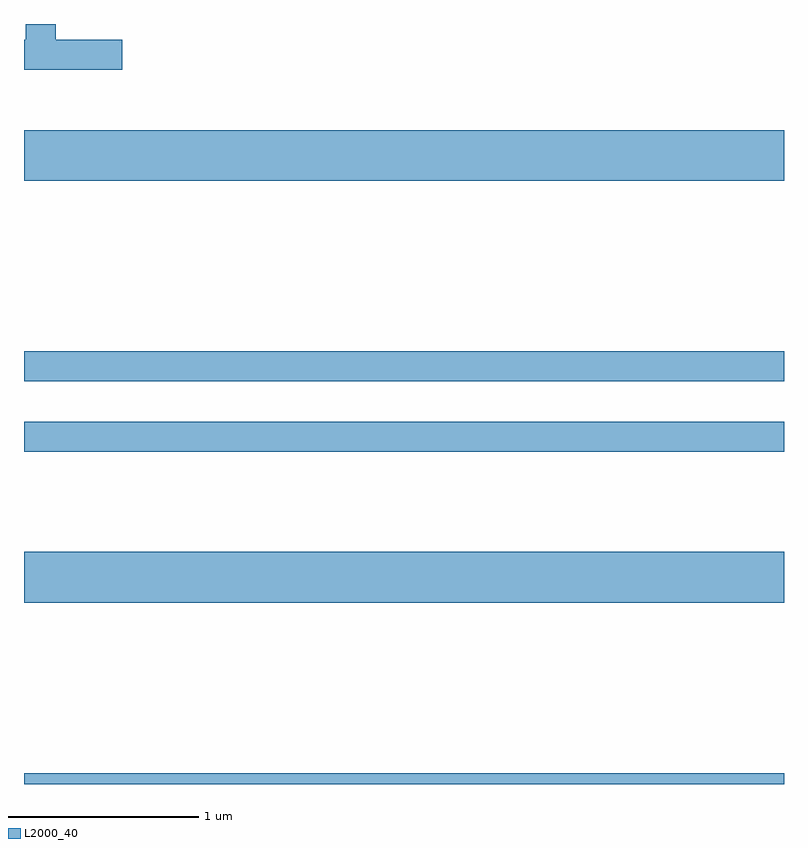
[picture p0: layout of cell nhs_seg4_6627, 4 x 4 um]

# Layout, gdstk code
import gdstk
lib = gdstk.Library(unit=1e-6, precision=1e-09)
def R(c, l, rs):  # rectangles x0, y0, x1, y1
    for r in rs: c.add(gdstk.rectangle(r[:2], r[2:], *l))
def P(c, l, *ps):  # polygons
    for p in ps: c.add(gdstk.Polygon(p, *l))
L2000_40 = (2000, 40)

nhs_seg4_6627 = lib.new_cell('nhs_seg4_6627')
R(nhs_seg4_6627, L2000_40, [(379.611,1315.982,383.611,1316.039), (379.611,1316.936,383.611,1317.204), (379.611,1317.731,383.611,1317.889), (379.611,1318.101,383.611,1318.259), (379.611,1319.156,383.611,1319.424)])
P(nhs_seg4_6627, L2000_40, [(380.128,1319.899),(379.779,1319.899),(379.779,1319.982),(379.621,1319.982),(379.621,1319.899),(379.611,1319.899),(379.611,1319.741),(380.128,1319.741)])

lib.write_gds('nhs_seg4_6627.gds')
